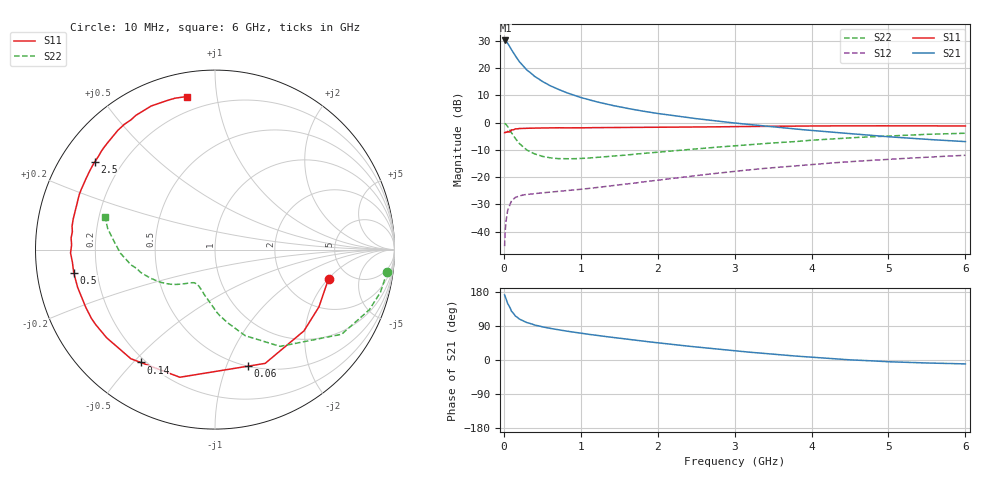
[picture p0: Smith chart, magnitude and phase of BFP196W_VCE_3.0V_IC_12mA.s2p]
! (c) 2016  Infineon Technologies AG, Munich
! Infineon Technologies  Discrete & RF Semiconductors
! BFP196W
! VCE = 3.0 V,  IC =  12mA
! Common Emitter S-Parameters:  Jan 2016
# GHz  S  MA  R  50
!  f  S11  S21  S12  S22
! GHz  MAG  ANG  MAG  ANG  MAG  ANG  MAG  ANG
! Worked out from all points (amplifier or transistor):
!   210 points, 10 MHz to 6 GHz, reference 50 ohm
!   highest |S21| = 30.1 dB at 20 MHz (marker M1)
!   |S21| within 3 dB of that: start of sweep to 91.08 MHz
!   unconditionally stable (mu >= 1): 1.106 GHz to 3.27 GHz
!   at 185 MHz: K = 0.23, MSG = 25.1 dB, |S12| = -27.1 dB
!   at 1.52 GHz: K = 1.15, MAG = 11.9 dB, |S12| = -22.8 dB
!   at 6 GHz: K = 0.94, MSG = 2.5 dB, |S12| = -12.0 dB
!   S11 on the Smith chart (normalised r, x): 10 MHz: 3.54, -2.02; 60 MHz: 0.50, -1.20; 140 MHz: 0.18, -0.52; 500 MHz: 0.11, -0.08; 2.5 GHz: 0.10, +0.32; 6 GHz: 0.12, +0.82
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0.01  0.6533 -14.5  32.14 171.7  0.0054 82.0  0.9678 -7.3
0.02  0.6613 -28.9  32.17 166.6  0.0112 76.6  0.9518 -14.5
0.03  0.6714 -42.4  31.28 160.5  0.016 71.6  0.923 -21.3
0.05  0.6928 -66.2  28.75 148.8  0.0244 61.4  0.8485 -33.8
0.06  0.675 -74.1  27.12 145.6  0.0266 56.8  0.8007 -37.3
0.1  0.7377 -105.4  21.77 128.6  0.0367 44.5  0.6503 -56.0
0.14  0.7528 -123.4  17.64 119.1  0.0412 36.8  0.5347 -67.0
0.15  0.7677 -127.6  16.71 116.0  0.0424 35.1  0.5098 -70.5
0.2  0.7783 -140.9  13.22 108.3  0.045 30.5  0.4152 -80.0
0.26  0.788 -150.9  10.6 102.1  0.0473 27.7  0.3498 -88.3
0.3  0.7885 -155.9  9.212 98.7  0.048 26.8  0.313 -92.7
0.4  0.7938 -164.6  7.056 92.3  0.0497 25.8  0.2667 -101.3
0.5  0.7975 -170.6  5.701 87.4  0.0514 26.4  0.2403 -107.7
0.7  0.8051 -178.7  4.126 80.0  0.0543 29.4  0.2184 -115.6
1.02  0.802 172.5  2.841 70.2  0.0601 34.7  0.2204 -123.3
1.42  0.8086 163.6  2.057 59.4  0.0698 40.9  0.2425 -129.3
2.02  0.8196 152.1  1.458 45.0  0.0883 47.0  0.2876 -137.6
2.5  0.8287 143.7  1.183 34.4  0.1065 48.8  0.3293 -144.9
3.1  0.8462 133.8  0.951 22.5  0.1318 48.0  0.385 -154.8
4.1  0.8688 119.2  0.7 6.1  0.1747 43.2  0.4847 -171.4
5.1  0.8724 108.1  0.538 -5.2  0.2157 36.1  0.5758 173.6
6  0.8674 100.5  0.448 -10.3  0.2514 29.5  0.6381 163.7
